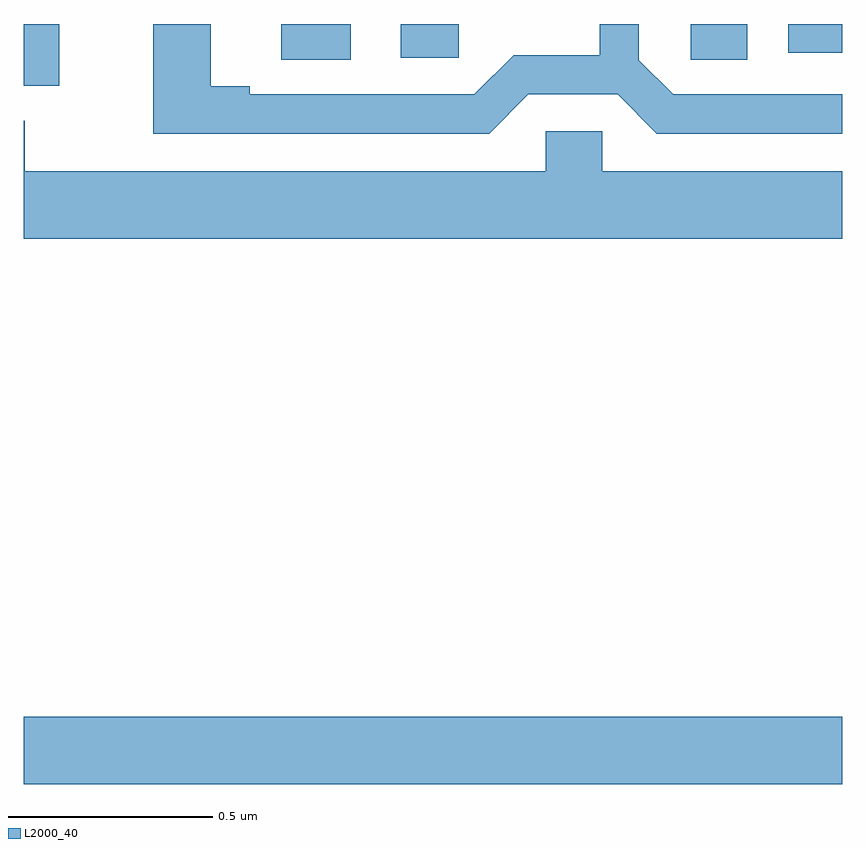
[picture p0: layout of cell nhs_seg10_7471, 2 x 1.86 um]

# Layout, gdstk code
import gdstk
lib = gdstk.Library(unit=1e-6, precision=1e-09)
def R(c, l, rs):  # rectangles x0, y0, x1, y1
    for r in rs: c.add(gdstk.rectangle(r[:2], r[2:], *l))
def P(c, l, *ps):  # polygons
    for p in ps: c.add(gdstk.Polygon(p, *l))
L2000_40 = (2000, 40)

nhs_seg10_7471 = lib.new_cell('nhs_seg10_7471')
R(nhs_seg10_7471, L2000_40, [(204,1305.644,206,1305.808), (204,1307.349,204.087,1307.5), (204.629,1307.413,204.799,1307.5), (205.629,1307.413,205.768,1307.5), (204.921,1307.418,205.063,1307.5), (205.868,1307.43,206,1307.5)])
P(nhs_seg10_7471, L2000_40, [(205.233,1307.328),(205.451,1307.328),(205.547,1307.232),(206,1307.232),(206,1307.328),(205.587,1307.328),(205.503,1307.412),(205.503,1307.5),(205.407,1307.5),(205.407,1307.424),(205.197,1307.424),(205.101,1307.328),(204.553,1307.328),(204.553,1307.348),(204.457,1307.348),(204.457,1307.5),(204.317,1307.5),(204.317,1307.232),(205.137,1307.232)],
  [(206,1307.14),(205.413,1307.14),(205.413,1307.238),(205.275,1307.238),(205.275,1307.14),(204.003,1307.14),(204.003,1307.264),(204,1307.264),(204,1306.976),(206,1306.976)])

lib.write_gds('nhs_seg10_7471.gds')
